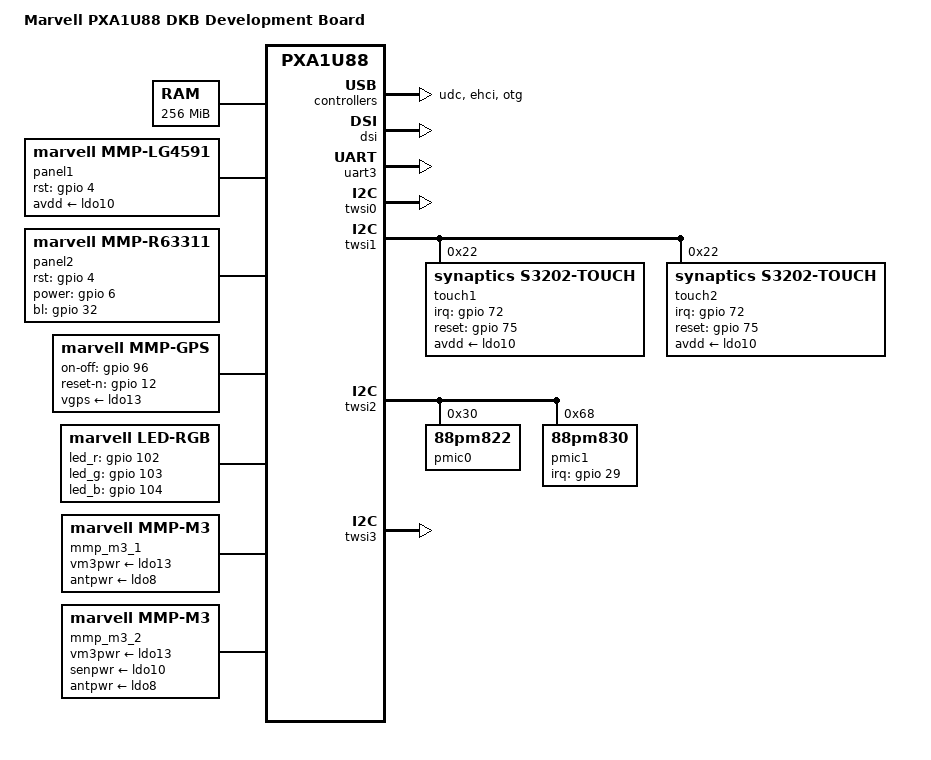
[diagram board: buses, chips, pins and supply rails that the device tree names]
/*
 *  Copyright (C) 2012 Marvell Technology Group Ltd.
 *  Author: Haojian Zhuang <haojian.zhuang@marvell.com>
 *
 *  This program is free software; you can redistribute it and/or modify
 *  it under the terms of the GNU General Public License version 2 as
 *  publishhed by the Free Software Foundation.
 */

/dts-v1/;
/memreserve/ 0x08100000 0x00040000;     /* ramoops buffer (256KB) */
/memreserve/ 0x17000000 0x01800000;	/* Frame buffer (24MB) */
/memreserve/ 0x0a000000 0x00080000;	/* CM3 shared buffer(512KB) */
/memreserve/ 0x0b000000 0x01000000;	/* CM3 ACQ buffer(16MB) */
#include "pxa1U88.dtsi"
#include "pxa988-pinfunc.h"
#include <dt-bindings/mmc/pxa_sdhci.h>

/ {
	model = "Marvell PXA1U88 DKB Development Board";
	compatible = "marvell,pxa1U88-dkb", "marvell,pxa1U88";

	chosen {
		bootargs = "console=ttyS0,115200 root=/dev/nfs nfsroot=192.168.1.100:/nfsroot/ ip=192.168.1.101:192.168.1.100::255.255.255.0::eth0:on";
	};

	memory {
		reg = <0x00000000 0x10000000>;
	};

	soc {
		pd_display: pd_display@0xd4282800 {
			compatible = "marvell,power-domain-display-pxa1u88";
			reg = <0xd4282800 0x1000>;
			clocks = <&soc_clocks PXA1U88_CLK_DISP_HCLK>,
				<&soc_clocks PXA1U88_CLK_DSI_ESC>,
				<&soc_clocks PXA1U88_CLK_DISP1_EN>;
			clock-names = "LCDCIHCLK", "esc_clk", "disp1_clk_gate";
		};

		smmu {  /* iommu in vpu */
			status = "okay";
		};

		axi@d4200000 {	/* AXI */
			usbphy: usbphy@d4207000 {
				status = "okay";
			};

			udc: udc@d4208100 {
				status = "okay";
			};

			ehci: ehci@d4208100 {
				status = "okay";
			};

			otg: otg@d4208100 {
				status = "okay";
			};

			pd_gc: pd_gc@d4282800 {
				compatible = "marvell,power-domain-common-gc";
				reg = <0xd4282800 0x1000>;
				clocks = <&soc_clocks PXA1U88_CLK_GC3D>;
			};

			pd_gc2d: pd_gc2d@d4282800 {
				compatible = "marvell,power-domain-common-gc2d";
				reg = <0xd4282800 0x1000>;
				clocks = <&soc_clocks PXA1U88_CLK_GC2D>;
			};

			gpu: gpu@C0400000 {
				marvell,power-domain = <&pd_gc>;
				marvell,gpu-mem-base = <0x09000000>;
				marvell,gpu-mem-size = <0x1000000>;
				clocks = <&soc_clocks PXA1U88_CLK_GC3D>,
					<&soc_clocks PXA1U88_CLK_GCSH>,
					<&soc_clocks PXA1U88_CLK_GCBUS>;
				clock-names = "GC3DFCLK", "GCSHCLK", "GC3DACLK";
				status = "okay";
			};

			gpu2d: gpu2d@d420c000 {
				marvell,power-domain = <&pd_gc2d>;
				clocks = <&soc_clocks PXA1U88_CLK_GC2D>,
					<&soc_clocks PXA1U88_CLK_GCBUS>;
				clock-names = "GC2DFCLK", "GC2DACLK";
				status = "okay";
			};

			pd_vpu: pd_vpu@d4282800 {
				compatible = "marvell,power-domain-common-vpu";
				reg = <0xd4282800 0x1000>;
				clocks = <&soc_clocks PXA1U88_CLK_VPU>;
			};

			coda7542: coda7542@d420d000 {
				marvell,sram-internal = <1>;
				marvell,nv21_support = <0>;
				marvell,power-domain = <&pd_vpu>;
				clocks = <&soc_clocks PXA1U88_CLK_VPU>,
					<&soc_clocks PXA1U88_CLK_VPUBUS>;
				clock-names = "VPUCLK", "VPUACLK";
				status = "okay";
			};

			intc: wakeupgen@d4282000 {
				status = "okay";
			};

			sdh2: sdh@d4281000 {
				bus-width = <8>;
				non-removable;
				marvell,sdh-quirks = <(SDHCI_QUIRK_BROKEN_CARD_DETECTION)>;
				marvell,sdh-quirks2 = <(SDHCI_QUIRK2_BROKEN_HS200)>;
				marvell,sdh-host-caps = <(MMC_CAP_1_8V_DDR)>;
				marvell,sdh-host-caps2 = <(MMC_CAP2_DISABLE_BLK_ASYNC)>;
				status = "okay";
			 };

			dsi: dsi@d420b800 {
				marvell,phy-name = "mmp_dsi1";
				marvell,plat-path-name = "mmp_pnpath";
				marvell,dsi-lanes = <4>;
				marvell,burst-mode = <2>;
				marvell,hbp-en;
				status = "okay";
			};

			vdma: vdma@d4209000 {
				marvell,vdma-num = <2>;
				marvell,vdma-axi = <1>;
				status = "okay";
				vdma1 {
					marvell,vdma-id = <0>;
					marvell,sram-size = <30720>;
					marvell,is_vid = <0>;
				};
				vdma2 {
					marvell,vdma-id = <2>;
					marvell,sram-size = <30720>;
					marvell,is_vid = <1>;
				};
			};

			apical: apical@d420b400 {
				marvell,apical-num = <1>;
			};

			disp: disp@d420b000 {
				pinctrl-names = "default";
				marvell,disp-name = "disp_name";
				marvell,path-num = <1>;
				marvell,power-domain = <&pd_display>;
				status = "okay";
				path1 {
					marvell,path-name = "mmp_pnpath";
					marvell,overlay-num = <2>;
					marvell,overlay-table = <0>, <1>;
					marvell,output-type = <1>;
					marvell,path-config = <0x10>;
					marvell,link-config = <0x1>;
				};
			};

			fb0: fbbase {
				marvell,fb-name = "mmp-fb";
				marvell,path-name = "mmp_pnpath";
				marvell,overlay-id = <1>;
				marvell,default-pixfmt = <0x109>;
				marvell,buffer-num = <3>;
				marvell,fb-mem = <0x17000000>;
				status = "okay";
			};

			fb1: fboverlay {
				marvell,fb-name = "mmp-fb-overlay";
				marvell,path-name = "mmp_pnpath";
				marvell,overlay-id = <0>;
				status = "okay";
			};
		};

		apb@d4000000 {
			pdma0: pdma@d4000000 {
				status = "okay";
			};

			timer0: timer@d4014000 {
				status = "disabled";
			};

			timer1: timer@d4016000 {
				status = "disabled";
			};

			edgewakeup: edgewakeup@d4019800 {
				status = "okay";
			};

			uart0: uart@d4017000 {
				pinctrl-names = "default", "sleep";
				pinctrl-0 = <&uart0_pmx_func1 &uart0_pmx_func2>;
				pinctrl-1 = <&uart0_pmx_func1_sleep &uart0_pmx_func2>;
				edge-wakeup-gpio = <47>; /* GPIO47: UART rx pin */
			};

			uart3: uart@d4018000 {
				pinctrl-names = "default";
				pinctrl-0 = <&uart3_pmx_func>;
				status = "okay";
			};

			keypad: keypad@d4012000 {
				marvell,direct-keys;
				marvell,direct-key-low-active;
				marvell,keypad-lpm-mod;
				marvell,direct-key-count = <2>;
				marvell,direct-key-mask = <0xff>;
				marvell,direct-key-map = < 0x73
							   0x72>;
				marvell,debounce-interval = <30>;
				pinctrl-names = "default";
				pinctrl-0 = <&keypad_in_func>;
				status = "okay";
			};

			mfpr: mfpr@d401e000 {
				pinctrl-names = "default";
				reg = <0xd401e000 0x280>;
				pinctrl-0 = <&mfp_pins_group_0 &mfp_pins_group_1>;
				status = "ok";
			};

			pmx: pinmux@d401e000 {
				/* pin base, nr pins & gpio function */
				pinctrl-single,gpio-range = <
					/*
					 * GPIO number is hardcoded for range at here.
					 * In gpio chip, GPIO number is not hardcoded for range.
					 * Since one gpio pin may be routed to multiple pins,
					 * define these gpio range in pxa910-dkb.dts not pxa910.dtsi.
					 */
					&range 55 55 0	/* GPIO0 ~ GPIO54 */
					&range 110 32 0 /* GPIO67 ~ GPIO98 */
					&range 52 1 0	/* GPIO124 */
				>;

                                /* MFP_PULL_HIGH | MFP_LPM_FLOAT */
                                mfp_pins_group_0: mfp_pins_group_0 {
                                        pinctrl-single,pins = <
                                                PRI_TDO AF0
                                                DF_RDY0 AF1
                                                DF_RDY1 AF1
                                                DF_nCS0_SM_nCS2 AF1
                                                PA_MODE AF6
                                                RF_CONF_4 AF6
                                                SM_ADVMUX AF1
                                        >;
                                        MFP_LPM_PULL_UP;
                                };

				/* CP UART Rx and Tx */
				mfp_pins_group_1: mfp_pins_group_1 {
					pinctrl-single,pins = <
						GPIO43 AF7
						GPIO44 AF7
					>;
					MFP_DEFAULT;
				};

				keypad_in_func: keypad_in_func {
					pinctrl-single,pins = <
						GPIO16 AF1	/* GPIO016_KP_DKIN1 */
						GPIO17 AF1	/* GPIO017_KP_DKIN2 */
					>;
					DS_MEDIUM;PULL_UP;EDGE_NONE;LPM_DRIVE_HIGH;
				};
				twsi0_pmx_func: twsi0_pmx_func {
					/* gpio79/80: AF1 */
					pinctrl-single,pins = <
						GPIO79 0x1
						GPIO80 0x1
					>;
					MFP_LPM_FLOAT;
				};
				twsi0_pmx_gpio: twsi0_pmx_gpio {
					pinctrl-single,pins = <
						GPIO79 AF0
						GPIO80 AF0
					>;
					MFP_LPM_FLOAT;
				};
				twsi1_pmx_func: twsi1_pmx_func {
					/* gpio87/88: AF5 */
					pinctrl-single,pins = <
						GPIO87 0x5
						GPIO88 0x5
					>;
					MFP_LPM_FLOAT;
				};
				twsi1_pmx_gpio: twsi1_pmx_gpio {
					pinctrl-single,pins = <
						GPIO87 AF0
						GPIO88 AF0
					>;
					MFP_LPM_FLOAT;
				};
				twsi3_pmx_func: twsi3_pmx_func {
					/* gpio73/74: AF5 */
					pinctrl-single,pins = <
						0x1d0 0x5
						0x1d4 0x5
					>;
					MFP_LPM_FLOAT;
				};
				twsi3_pmx_gpio: twsi3_pmx_gpio {
					pinctrl-single,pins = <
						GPIO73 AF0
						GPIO74 AF0
					>;
					MFP_LPM_FLOAT;
				};
				twsi3_pmx_senhb: twsi3_pmx_senhb {
					pinctrl-single,pins = <
						GPIO73 AF7
						GPIO74 AF7
					>;
					MFP_DEFAULT;
				};
				twsi3_pmx_senhb_def: twsi3_pmx_senhb_def {
					pinctrl-single,pins = <
						GPIO73 AF7
						GPIO74 AF7
					>;
					MFP_LPM_FLOAT;
				};
				dvc_pmx_func: dvc_pmx_func {
					pinctrl-single,pins = <
						GPIO93 AF5
						GPIO94 AF5
					>;
					MFP_DEFAULT;
				};
				pm830_pmx_func1: pm830_pmx_func1 {
					pinctrl-single,pins = <
						GPIO29 AF0
					>;
					MFP_DEFAULT;
				};
				pm830_pmx_func1_sleep: pm830_pmx_func1_sleep {
					pinctrl-single,pins = <
						GPIO29 AF0
					>;
					DS_MEDIUM;PULL_NONE;EDGE_BOTH;LPM_NONE;
				};
				touch_pins: touch_pins {
					pinctrl-single,pins = <
						GPIO72 0x0
						GPIO75 0x0
					>;
					MFP_LPM_FLOAT;
				};

				pm830_pmx_leds: pm830_pmx_leds {
					pinctrl-single,pins = <
						GPIO19 AF0	/* PA_EN */
						GPIO95 AF0	/* FLASH_EN */
					>;
					MFP_LPM_FLOAT;
				};
				pm830_bat_det: pm830_bat_det {
					pinctrl-single,pins = <
						GPIO31 AF0	/* BAT_DET */
					>;
					MFP_LPM_PULL_DW;
				};

				uart0_pmx_func1: uart0_pmx_func1 {
					pinctrl-single,pins = <
						GPIO47 AF6
					>;
					MFP_DEFAULT;
				};

				uart0_pmx_func2: uart0_pmx_func2 {
					pinctrl-single,pins = <
						GPIO48 AF6
					>;
					MFP_DEFAULT;
				};

				uart0_pmx_func1_sleep: uart0_pmx_func1_sleep {
					pinctrl-single,pins = <
						GPIO47 AF6
					>;
					DS_MEDIUM;PULL_NONE;EDGE_BOTH;LPM_NONE;
				};

				led_pmx_func: led_pmx_func {
					pinctrl-single,pins = <
						/* LED_R_CTRL */
						DF_nCS1_SM_nCS3 AF1
						/* LED_G_CTRL */
						SM_nCS0 AF1
						/* LED_B_CTRL */
						SM_nCS1 AF1
					>;
					MFP_LPM_PULL_DW;
				};

				uart3_pmx_func: uart3_pmx_func {
					pinctrl-single,pins = <
						GPIO45 AF1
						GPIO46 AF1
					>;
					MFP_DEFAULT;
				};

				gnss_pmx_def1: gnss_pmx_def1 {
					pinctrl-single,pins = <
						ND_IO11 AF1
						ND_IO12 AF1
						ND_IO13 AF1
						ND_IO15 AF1
					>;
					MFP_LPM_PULL_DW;
				};

				gnss_pmx_def2: gnss_pmx_def2 {
					pinctrl-single,pins = <
						ND_IO14 AF0
					>;
					MFP_LPM_FLOAT;
				};

				gnss_pmx_power_on: gnss_pmx_power_on {
					pinctrl-single,pins = <
						ND_IO11 AF5
						ND_IO12 AF5
						ND_IO13 AF5
						ND_IO14 AF5
						ND_IO15 AF5
					>;
					MFP_DEFAULT;
				};

				senhb_irq_pins_def: senhb_irq_pins_def {
					pinctrl-single,pins = <
						GPIO11 AF0
						GPIO10 AF0
						ND_IO10 AF5
					>;
					MFP_DEFAULT;
				};

				gps_pmx_reset: gps_pmx_reset {
					pinctrl-single,pins = <
						GPIO12 AF0
					>;
					DS_MEDIUM;PULL_DOWN;EDGE_NONE;LPM_NONE;
				};

				gps_pmx_eclk: gps_pmx_eclk {
					/* eclk */
					pinctrl-single,pins = <
						0x0124 0x6
					>;
					MFP_DEFAULT;
				};

				gps_pmx_gpio: gps_pmx_gpio {
					/* gpio18 */
					pinctrl-single,pins = <
						0x0124 0x0
					>;
					MFP_DEFAULT;
				};
			};

			twsi0: i2c@d4011000 {
				pinctrl-names = "default","gpio";
				pinctrl-0 = <&twsi0_pmx_func>;
				pinctrl-1 = <&twsi0_pmx_gpio>;
				i2c-gpio = <&gpio 79 0 &gpio 80 0>;
				status = "okay";
			};
			twsi1: i2c@d4010800 {
				pinctrl-names = "default","gpio";
				pinctrl-0 = <&twsi1_pmx_func>;
				pinctrl-1 = <&twsi1_pmx_gpio>;
				i2c-gpio = <&gpio 87 0 &gpio 88 0>;
				status = "okay";

                                touch1: s3202@720p {
                                        compatible = "synaptics,s3202-touch";
                                        pinctrl-names = "default"; pinctrl-0 = <&touch_pins>;
                                        reg = <0x22>;
                                        interrupt-parent = <&gpio>;
                                        interrupts = <72 0x1>;
                                        /* IRQF_ONESHOT | IRQF_TRIGGER_FALLING */
                                        synaptics,irq-flags =  <0x2002>;
                                        synaptics,irq-gpios = <&gpio 72 0>;
                                        synaptics,reset-gpios = <&gpio 75 0>;
                                        synaptics,sensor_res_x = <720>;
                                        synaptics,sensor_res_y = <1280>;
                                        synaptics,sensor_max_x = <798>;
                                        synaptics,sensor_max_y = <1392>;
                                        synaptics,sensor_margin_x = <39>;
                                        synaptics,sensor_margin_y = <0>;
                                        avdd-supply = <&ldo10>;
                                };

                                touch2: s3202@1080p {
                                        compatible = "synaptics,s3202-touch";
                                        pinctrl-names = "default"; pinctrl-0 = <&touch_pins>;
                                        reg = <0x22>;
                                        interrupt-parent = <&gpio>;
                                        interrupts = <72 0x1>;
                                        /* IRQF_ONESHOT | IRQF_TRIGGER_FALLING */
                                        synaptics,irq-flags =  <0x2002>;
                                        synaptics,irq-gpios = <&gpio 72 0>;
                                        synaptics,reset-gpios = <&gpio 75 0>;
                                        synaptics,sensor_res_x = <1080>;
                                        synaptics,sensor_res_y = <1920>;
                                        synaptics,sensor_max_x = <1080>;
                                        synaptics,sensor_max_y = <2070>;
                                        synaptics,sensor_margin_x = <0>;
                                        synaptics,sensor_margin_y = <0>;
                                        avdd-supply = <&ldo10>;
                                };
			};
			twsi2: i2c@d4037000 {
				status = "okay";

				pmic0: 88pm822@30 {
					reg = <0x30>;
					interrupts = <0 4 IRQ_TYPE_LEVEL_HIGH>;
					interrupt-parent = <&gic>;
					/* TODO: move this part out */
					dvc {
						pinctrl-names = "default";
						pinctrl-0 = <&dvc_pmx_func>;
						status = "okay";
					};
				};

				pmic1: 88pm830@68 {
					pinctrl-names = "default", "sleep";
					pinctrl-0 = <&pm830_pmx_func1 &pm830_pmx_leds &pm830_bat_det>;
					pinctrl-1 = <&pm830_pmx_func1_sleep &pm830_pmx_leds &pm830_bat_det>;
					edge-wakeup-gpio = <29>; /* GPIO29: interrupt line */

					reg = <0x68>;
					interrupt-parent = <&gpio>;
					interrupts = <29 IRQ_TYPE_EDGE_FALLING>;

				        charger {
					        status = "okay";
				        };
				        battery {
					        /* board design related */
					        external-resistor = <200>; /* mohm */
					        /* using scenario */
					        power-off-threshold = <3350>; /* mV */
					        safe-power-off-threshold = <3000>; /* mV */
					        status = "okay";
				        };
				        led {
					        flash-en-gpio = <95>;
					        flash-txmsk-gpio = <19>;
					        status = "okay";
				        };
					vbus {
						gpadc-number = <1>;
						status = "okay";
					};

				        debug {
					       status = "okay";
				        };
			       };
			};
			twsi3: i2c@d4013800 {
				pinctrl-names = "default", "gpio";
				pinctrl-0 = <&twsi3_pmx_func>;
				pinctrl-1 = <&twsi3_pmx_gpio>;
				i2c-gpio = <&gpio 73 0 &gpio 74 0>;
				status = "okay";
			};

			swjtag: swjtag@d4013100 {
				status = "okay";
			};

			thermal: thermal@d4013300 {
				/* A cooling path is defined with the increased num */
				/* 4core 3core 2core 1core */
				core-p0 = <0 0 0 0  /* 2.0G */
					   1 0 0 0  /* 1.8G */
					   2 0 0 0  /* 1.5G */
					   3 0 0 0>;/* 1.2G */
				status = "okay";
			};
		};

                /*
                 * ramoops:
                 * 256 KB memory starts at 0x8100000
                 * pstore dump: 2 chunks, total 64 KB, 32 KB each
                 * console size: 192 KB
                 * no dump_oops
                 */
                ramoops {
			compatible = "pstore,ramoops";
                        mem-size = <0x40000>;
                        mem-address = <0x8100000>;
                        record-size = <0x8000>;
                        console-size = <0x30000>;
                        dump-oops = <0>;
                        status = "okay";
                };
	};

	ion {
		marvell,ion-nr = <2>;
		status = "okay";
		marvell,ion-iommu = <1>;
		heap1 {
			marvell,ion-name = "carveout_heap";
			marvell,ion-type = <2>;
			marvell,ion-id = <2>;
			marvell,ion-base = <0>;
			marvell,ion-size = <0>;
		};
		heap2 {
			marvell,ion-name = "system_heap";
			marvell,ion-type = <0>;
			marvell,ion-id = <0>;
		};
	};

	panel1: lg4591 {
		compatible = "marvell,mmp-lg4591";
		marvell,path-name = "mmp_pnpath";
		rst_gpio = <&gpio 4 0>;
		avdd-supply = <&ldo10>;
		status = "okay";
	};

	panel2: r63311 {
		compatible = "marvell,mmp-r63311";
		marvell,path-name = "mmp_pnpath";
		rst_gpio = <&gpio 4 0>;
		power_gpio = <&gpio 6 0>;
		bl_gpio = <&gpio 32 0>;
		status = "okay";
	};

	gps: mmp-gps {
		compatible = "marvell,mmp-gps";
		marvell,gps-eclk-ctrl;

		vgps-supply = <&ldo13>;

		pinctrl-names = "default", "idle";
		pinctrl-0 = <&gps_pmx_eclk &gps_pmx_reset>;
		pinctrl-1 = <&gps_pmx_gpio>;

		on-off-gpio = <&gpio 96 0>;
		reset-n-gpio = <&gpio 12 0>;
	};

	led-rgb {
		compatible = "marvell,led-rgb";
		pinctrl-names = "default";
		pinctrl-0 = <&led_pmx_func>;
		led_r = <&gpio 102 0>;
		led_g = <&gpio 103 0>;
		led_b = <&gpio 104 0>;
		status = "okay";
	};

	mmp_m3_1: apsenhb {
		compatible = "marvell,mmp-m3";
		vm3pwr-supply = <&ldo13>;
		antpwr-supply = <&ldo8>;

		pinctrl-names = "default", "poweron", "unfuse_en_d2";
		pinctrl-0 = <&gnss_pmx_def1 &gnss_pmx_def2>;
		pinctrl-1 = <&gnss_pmx_power_on>;
		pinctrl-2 = <&gnss_pmx_def2>;
		status = "okay";
	};

	mmp_m3_2: cm3senhb {
		compatible = "marvell,mmp-m3";
		vm3pwr-supply = <&ldo13>;
		senpwr-supply = <&ldo10>;
		antpwr-supply = <&ldo8>;

		pinctrl-names = "default", "poweron", "unfuse_en_d2";
		pinctrl-0 = <&gnss_pmx_def1 &gnss_pmx_def2 &twsi3_pmx_senhb_def &senhb_irq_pins_def>;
		pinctrl-1 = <&gnss_pmx_power_on &twsi3_pmx_senhb>;
		pinctrl-2 = <&gnss_pmx_def2>;
		status = "okay";
	};
};
#include "88pm822.dtsi"
#include "88pm822_pxa1u88_dkb.dtsi"

#include "88pm830.dtsi"
#include "88pm830_battery_common.dtsi"
#include "88pm830_sp4555557sa.dtsi"
